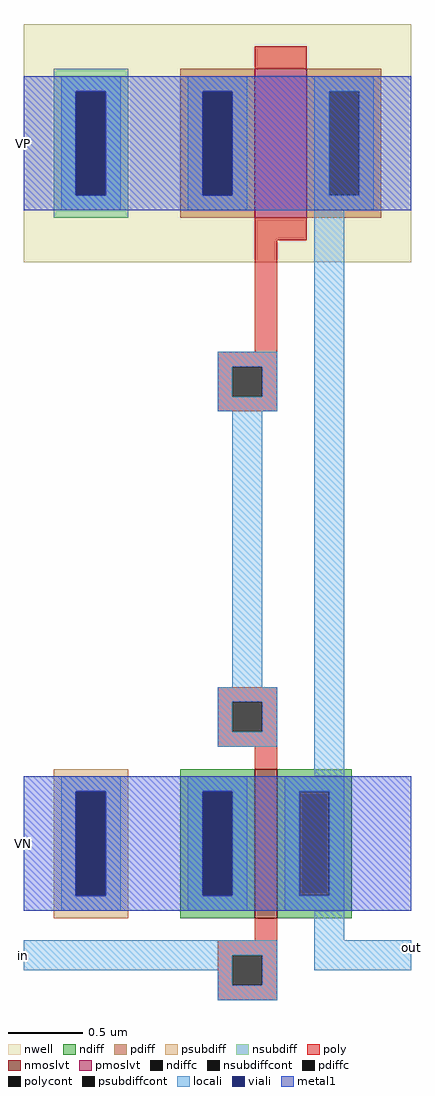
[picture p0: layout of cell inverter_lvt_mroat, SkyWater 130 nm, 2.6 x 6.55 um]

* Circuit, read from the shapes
.subckt inverter_lvt_mroat in out VP VN
XM1 out in VN VN sky130_fd_pr__nfet_01v8_lvt w=1 l=0.15
XM2 out in VP VP sky130_fd_pr__pfet_01v8_lvt w=1 l=0.35
.ends

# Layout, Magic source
magic
tech sky130A
<< nwell >>
rect -185 140 75 300
<< pmoslvt >>
rect -30 170 5 270
<< nmoslvt >>
rect -30 -300 -15 -200
<< ndiff >>
rect -80 -215 -30 -200
rect -80 -285 -65 -215
rect -45 -285 -30 -215
rect -80 -300 -30 -285
rect -15 -215 35 -200
rect -15 -285 0 -215
rect 20 -285 35 -215
rect -15 -300 35 -285
<< pdiff >>
rect -80 255 -30 270
rect -80 185 -65 255
rect -45 185 -30 255
rect -80 170 -30 185
rect 5 255 55 270
rect 5 185 20 255
rect 40 185 55 255
rect 5 170 55 185
<< ndiffc >>
rect -65 -285 -45 -215
rect 0 -285 20 -215
<< pdiffc >>
rect -65 185 -45 255
rect 20 185 40 255
<< psubdiff >>
rect -165 -215 -115 -200
rect -165 -285 -150 -215
rect -130 -285 -115 -215
rect -165 -300 -115 -285
<< nsubdiff >>
rect -165 255 -115 270
rect -165 185 -150 255
rect -130 185 -115 255
rect -165 170 -115 185
<< psubdiffcont >>
rect -150 -285 -130 -215
<< nsubdiffcont >>
rect -150 185 -130 255
<< poly >>
rect -30 270 5 285
rect -30 155 5 170
rect -30 80 -15 155
rect -55 70 -15 80
rect -55 50 -45 70
rect -25 50 -15 70
rect -55 40 -15 50
rect -55 -155 -15 -145
rect -55 -175 -45 -155
rect -25 -175 -15 -155
rect -55 -185 -15 -175
rect -30 -200 -15 -185
rect -30 -315 -15 -300
rect -55 -325 -15 -315
rect -55 -345 -45 -325
rect -25 -345 -15 -325
rect -55 -355 -15 -345
<< polycont >>
rect -45 50 -25 70
rect -45 -175 -25 -155
rect -45 -345 -25 -325
<< locali >>
rect -160 255 -120 265
rect -160 185 -150 255
rect -130 185 -120 255
rect -160 175 -120 185
rect -75 255 -35 265
rect -75 185 -65 255
rect -45 185 -35 255
rect -75 175 -35 185
rect 10 255 50 265
rect 10 185 20 255
rect 40 185 50 255
rect 10 175 50 185
rect -55 70 -15 80
rect -55 50 -45 70
rect -25 50 -15 70
rect -55 40 -15 50
rect -45 -145 -25 40
rect -55 -155 -15 -145
rect -55 -175 -45 -155
rect -25 -175 -15 -155
rect -55 -185 -15 -175
rect 10 -205 30 175
rect -160 -215 -120 -205
rect -160 -285 -150 -215
rect -130 -285 -120 -215
rect -160 -295 -120 -285
rect -75 -215 -35 -205
rect -75 -285 -65 -215
rect -45 -285 -35 -215
rect -75 -295 -35 -285
rect -10 -215 30 -205
rect -10 -285 0 -215
rect 20 -285 30 -215
rect -10 -295 30 -285
rect 10 -315 30 -295
rect -185 -325 -15 -315
rect -185 -335 -45 -325
rect -55 -345 -45 -335
rect -25 -345 -15 -325
rect 10 -335 75 -315
rect -55 -355 -15 -345
<< viali >>
rect -150 185 -130 255
rect -65 185 -45 255
rect -150 -285 -130 -215
rect -65 -285 -45 -215
<< metal1 >>
rect -185 255 75 265
rect -185 185 -150 255
rect -130 185 -65 255
rect -45 185 75 255
rect -185 175 75 185
rect -185 -215 75 -205
rect -185 -285 -150 -215
rect -130 -285 -65 -215
rect -45 -285 75 -215
rect -185 -295 75 -285
<< labels >>
rlabel metal1 -185 220 -185 220 7 VP
port 3 w
rlabel metal1 -185 -250 -185 -250 7 VN
port 4 w
rlabel locali -185 -325 -185 -325 7 in
port 1 w
rlabel locali 75 -320 75 -320 3 out
port 2 e
<< end >>
